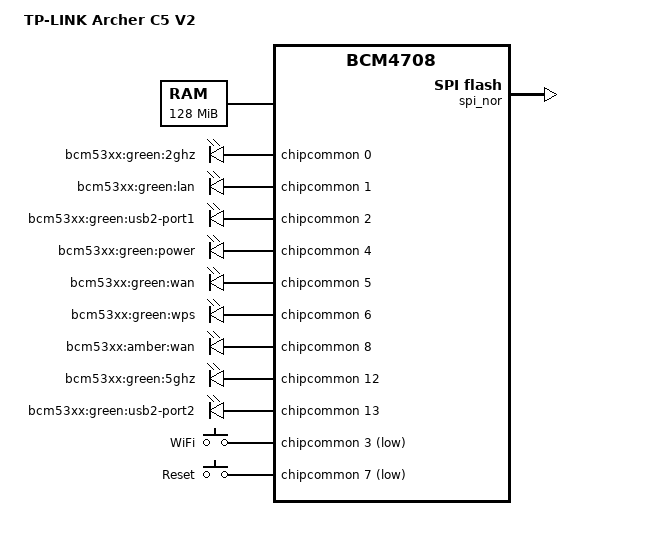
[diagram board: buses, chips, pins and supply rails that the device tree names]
// SPDX-License-Identifier: GPL-2.0-or-later OR MIT
/*
 * Copyright (C) 2017 Rafał Miłecki <rafal@milecki.pl>
 */

/dts-v1/;

#include "bcm47081.dtsi"

/ {
	compatible = "tplink,archer-c5-v2", "brcm,bcm47081", "brcm,bcm4708";
	model = "TP-LINK Archer C5 V2";

	chosen {
		bootargs = "earlycon";
	};

	memory@0 {
		device_type = "memory";
		reg = <0x00000000 0x08000000>;
	};

	leds {
		compatible = "gpio-leds";

		led-2ghz {
			label = "bcm53xx:green:2ghz";
			gpios = <&chipcommon 0 GPIO_ACTIVE_HIGH>;
		};

		led-lan {
			label = "bcm53xx:green:lan";
			gpios = <&chipcommon 1 GPIO_ACTIVE_HIGH>;
		};

		led-usb2-port1 {
			label = "bcm53xx:green:usb2-port1";
			gpios = <&chipcommon 2 GPIO_ACTIVE_HIGH>;
			trigger-sources = <&ohci_port1>, <&ehci_port1>;
			linux,default-trigger = "usbport";
		};

		led-power {
			label = "bcm53xx:green:power";
			gpios = <&chipcommon 4 GPIO_ACTIVE_HIGH>;
			linux,default-trigger = "default-on";
		};

		led-wan-green {
			label = "bcm53xx:green:wan";
			gpios = <&chipcommon 5 GPIO_ACTIVE_HIGH>;
		};

		led-wps {
			label = "bcm53xx:green:wps";
			gpios = <&chipcommon 6 GPIO_ACTIVE_HIGH>;
		};

		led-wan-amber {
			label = "bcm53xx:amber:wan";
			gpios = <&chipcommon 8 GPIO_ACTIVE_HIGH>;
		};

		led-5ghz {
			label = "bcm53xx:green:5ghz";
			gpios = <&chipcommon 12 GPIO_ACTIVE_HIGH>;
		};

		led-usb2-port2 {
			label = "bcm53xx:green:usb2-port2";
			gpios = <&chipcommon 13 GPIO_ACTIVE_HIGH>;
			trigger-sources = <&ohci_port2>, <&ehci_port2>;
			linux,default-trigger = "usbport";
		};
	};

	gpio-keys {
		compatible = "gpio-keys";

		button-rfkill {
			label = "WiFi";
			linux,code = <KEY_RFKILL>;
			gpios = <&chipcommon 3 GPIO_ACTIVE_LOW>;
		};

		button-restart {
			label = "Reset";
			linux,code = <KEY_RESTART>;
			gpios = <&chipcommon 7 GPIO_ACTIVE_LOW>;
		};
	};
};

&spi_nor {
	status = "okay";

	partitions {
		compatible = "tplink,safeloader-partitions";
		partitions-table-offset = <0xe50000>;

		partition-os-image {
			compatible = "brcm,trx";
		};

		partition-file-system {
			linux,rootfs;
		};
	};
};

&usb2 {
	vcc-gpio = <&chipcommon 9 GPIO_ACTIVE_HIGH>;
};
